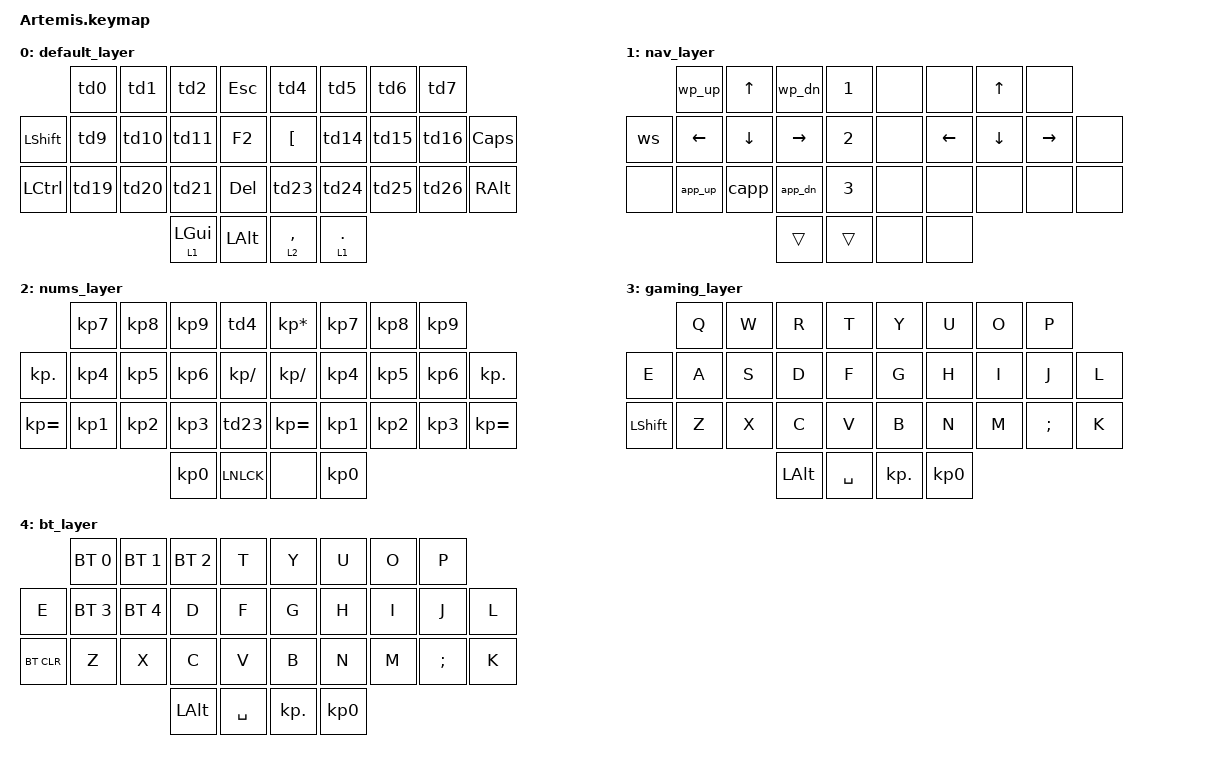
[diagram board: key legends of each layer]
#include <behaviors.dtsi>
#include <dt-bindings/zmk/keys.h>
#include <dt-bindings/zmk/bt.h>
&lt {
    tapping-term-ms = <200>;
};
&mt {
    retro-tap;
};

    
/ {
    behaviors {
        td0: tap_dance_0 {
            compatible = "zmk,behavior-tap-dance";
            #binding-cells = <0>;
            tapping-term-ms = <300>;
            bindings = <&kp E>, <&kp Q>, <&kp G>;
        };
        td1: tap_dance_1 {
            compatible = "zmk,behavior-tap-dance";
            #binding-cells = <0>;
            tapping-term-ms = <300>;
            bindings = <&kp R>, <&kp O>, <&kp M>;
        };
        td2: tap_dance_2 {
            compatible = "zmk,behavior-tap-dance";
            #binding-cells = <0>;
            tapping-term-ms = <300>;
            bindings = <&kp T>, <&kp H>, <&kp U>;
        };
        td3: tap_dance_3 {
            compatible = "zmk,behavior-tap-dance";
            #binding-cells = <0>;
            tapping-term-ms = <300>;
            bindings = <&kp ESC>, <&kp RBKT>;
        };
        td4: tap_dance_4 {
            compatible = "zmk,behavior-tap-dance";
            #binding-cells = <0>;
            tapping-term-ms = <300>;
            bindings = <&kp RBKT>, <&kp KP_SLASH>;
        };
        td5: tap_dance_5 {
            compatible = "zmk,behavior-tap-dance";
            #binding-cells = <0>;
            tapping-term-ms = <300>;
            bindings = <&kp G>, <&kp K>, <&kp EQUAL>;
        };
        td6: tap_dance_6 {
            compatible = "zmk,behavior-tap-dance";
            #binding-cells = <0>;
            tapping-term-ms = <300>;
            bindings = <&kp Y>, <&kp P>, <&kp EXCL>;
        };
        td7: tap_dance_7 {
            compatible = "zmk,behavior-tap-dance";
            #binding-cells = <0>;
            tapping-term-ms = <300>;
            bindings = <&kp L>, <&kp MINUS>, <&kp AT>;
        };
        td9: tap_dance_9 {
            compatible = "zmk,behavior-tap-dance";
            #binding-cells = <0>;
            tapping-term-ms = <300>;
            bindings = <&kp A>, <&kp L>, <&kp I>;
        };
        td10: tap_dance_10 {
            compatible = "zmk,behavior-tap-dance";
            #binding-cells = <0>;
            tapping-term-ms = <300>;
            bindings = <&kp S>, <&kp N>, <&kp K>;
        };
        td11: tap_dance_11 {
            compatible = "zmk,behavior-tap-dance";
            #binding-cells = <0>;
            tapping-term-ms = <300>;
            bindings = <&kp D>, <&kp F>, <&kp J>;
        };
        td12: tap_dance_12 {
            compatible = "zmk,behavior-tap-dance";
            #binding-cells = <0>;
            tapping-term-ms = <300>;
            bindings = <&kp F2>, <&kp APOS>;
        };
        td14: tap_dance_14 {
            compatible = "zmk,behavior-tap-dance";
            #binding-cells = <0>;
            tapping-term-ms = <300>;
            bindings = <&kp N>, <&kp SEMI>, <&kp LPAR>;
        };
        td15: tap_dance_15 {
            compatible = "zmk,behavior-tap-dance";
            #binding-cells = <0>;
            tapping-term-ms = <300>;
            bindings = <&kp I>, <&kp DQT>, <&kp NUBS>;
        };
        td16: tap_dance_16 {
            compatible = "zmk,behavior-tap-dance";
            #binding-cells = <0>;
            tapping-term-ms = <300>;
            bindings = <&kp O>, <&kp AMPS>, <&kp LBRC>;
        };
        td17: tap_dance_17 {
            compatible = "zmk,behavior-tap-dance";
            #binding-cells = <0>;
            tapping-term-ms = <300>;
            bindings = <&kp NUHS>, <&kp F4>;
        };
        td19: tap_dance_19 {
            compatible = "zmk,behavior-tap-dance";
            #binding-cells = <0>;
            tapping-term-ms = <300>;
            bindings = <&kp Z>, <&kp W>, <&kp P>;
        };
        td20: tap_dance_20 {
            compatible = "zmk,behavior-tap-dance";
            #binding-cells = <0>;
            tapping-term-ms = <300>;
            bindings = <&kp X>, <&kp B>, <&kp SEMI>;
        };
        td21: tap_dance_21 {
            compatible = "zmk,behavior-tap-dance";
            #binding-cells = <0>;
            tapping-term-ms = <300>;
            bindings = <&kp C>, <&kp V>, <&kp Y>;
        };
        td22: tap_dance_22 {
            compatible = "zmk,behavior-tap-dance";
            #binding-cells = <0>;
            tapping-term-ms = <300>;
            bindings = <&kp DEL>, <&kp FSLH>;
        };
        td23: tap_dance_23 {
            compatible = "zmk,behavior-tap-dance";
            #binding-cells = <0>;
            tapping-term-ms = <300>;
            bindings = <&kp FSLH>, <&kp CARET>;
        };
        td24: tap_dance_24 {
            compatible = "zmk,behavior-tap-dance";
            #binding-cells = <0>;
            tapping-term-ms = <300>;
            bindings = <&kp M>, <&kp STAR>, <&kp TILDE>;
        };
        td25: tap_dance_25 {
            compatible = "zmk,behavior-tap-dance";
            #binding-cells = <0>;
            tapping-term-ms = <300>;
            bindings = <&kp U>, <&kp PRCNT>, <&kp TILDE2>;
        };
        td26: tap_dance_26 {
            compatible = "zmk,behavior-tap-dance";
            #binding-cells = <0>;
            tapping-term-ms = <300>;
            bindings = <&kp H>, <&kp J>, <&kp LT>;
        };
    };
        macros {
        app_dn: app_lworkspace {
            compatible = "zmk,behavior-macro";
            #binding-cells = <0>;
            bindings
                = <&macro_press &kp LSHIFT &kp LGUI>
                , <&macro_tap &kp PG_DN>
                , <&macro_release &kp LSHIFT &kp LGUI>
                ;
                };
        app_up: app_rworkspace {
            compatible = "zmk,behavior-macro";
            #binding-cells = <0>;
            bindings
                = <&macro_press &kp LSHIFT &kp LGUI>
                , <&macro_tap &kp PG_UP>
                , <&macro_release &kp LSHIFT &kp LGUI>
                ;
                };
        wp_up: lworkspace {
            compatible = "zmk,behavior-macro";
            #binding-cells = <0>;
            bindings
                = <&macro_press &kp LGUI>
                , <&macro_tap &kp PG_UP>
                , <&macro_release &kp LGUI>
                ;
                };
        wp_dn: rworkspace {
            compatible = "zmk,behavior-macro";
            #binding-cells = <0>;
            bindings
                = <&macro_press &kp LGUI>
                , <&macro_tap &kp PG_DN>
                , <&macro_release &kp LGUI>
                ;
                };                        
        ws: win_shift {
            compatible = "zmk,behavior-macro";
            #binding-cells = <0>;
            bindings
                = <&macro_press &kp LGUI &kp LSHIFT>
                , <&macro_release &kp LGUI &kp LSHIFT>
                ;
                }; 
        capp: clos_app {
            compatible = "zmk,behavior-macro";
            #binding-cells = <0>;
            bindings
                = <&macro_press &kp LALT &kp F4>
                , <&macro_release &kp LALT &kp F4>
                ;
                }; 
        };
        
        keymap {
                compatible = "zmk,keymap";

                default_layer {
// 0-----------------------------------------------------------------------------------------
//       |  Q  |  W  |  R  |  T  |   |  T  |  Y   |  U  |  I  |
// |  A  |  S  |  D  |  F  |  G  |   |  H  |  J   |  K  |  L  |  ;  |
// |  Z  |  X  |  C  |  V  |  B  |   |  N  |  M   |  ,  |  .  |  /  |
//                   | GUI | LWR |   | ENT | RSE  |
                        bindings = <
                   &td0  &td1  &td2         &kp ESC       &td4        &td5       &td6   &td7
        &kp LSHIFT &td9  &td10 &td11        &kp F2        &kp LBKT    &td14      &td15  &td16    &kp CAPS
        &kp LCTRL  &td19 &td20 &td21        &kp DEL       &td23       &td24      &td25  &td26    &kp RALT
                               &lt 1 LGUI   &kp LALT    &lt 2 COMMA &lt 1 DOT
                        >; 
                };

                nav_layer {
// 1-----------------------------------------------------------------------------------------
// |  TAB |  1  |  2  |  3  |  4  |  5  |   |  6  |  7  |  8  |  9  |  0  | BSPC |
// | BTCLR| BT1 | BT2 | BT3 | BT4 | BT5 |   | LFT | DWN |  UP | RGT |     |      |
// | SHFT |     |     |     |     |     |   |     |     |     |     |     |      |
//                    | GUI |     | SPC |   | ENT |     | ALT |
                        bindings = <
              &wp_up     &kp UP     &wp_dn     &kp N1          &none    &none     &kp UP    &none  
   &ws        &kp LEFT   &kp DOWN   &kp RIGHT  &kp N2          &none    &kp LEFT  &kp DOWN  &kp RIGHT &none
   &none      &app_up    &capp      &app_dn    &kp N3          &none    &none     &none     &none     &none
                                    &trans     &trans          &none    &none
                        >;
                };
                nums_layer {
// 2---------------------------------------------------------------------------------------
// |  TAB |  1  |  2  |  3  |  4  |  5  |   |  6  |  7  |  8  |  9  |  0  | BSPC |
// | BTCLR| BT1 | BT2 | BT3 | BT4 | BT5 |   | LFT | DWN |  UP | RGT |     |      |
// | SHFT |     |     |     |     |     |   |     |     |     |     |     |      |
//                    | GUI |     | SPC |   | ENT |     | ALT |
                        bindings = <
                  &kp KP_N7   &kp KP_N8    &kp KP_N9    &td4              &kp KP_MULTIPLY &kp KP_N7   &kp KP_N8    &kp KP_N9   
   &kp KP_DOT     &kp KP_N4   &kp KP_N5    &kp KP_N6    &kp KP_SLASH      &kp KP_SLASH    &kp KP_N4   &kp KP_N5    &kp KP_N6   &kp KP_DOT
   &kp KP_EQUAL   &kp KP_N1   &kp KP_N2    &kp KP_N3    &td23             &kp KP_EQUAL    &kp KP_N1   &kp KP_N2    &kp KP_N3   &kp KP_EQUAL 
                                        &kp KP_N0    &kp LNLCK         &none           &kp KP_N0
                        >;
                };
                gaming_layer {
// 7---------------------------------------------------------------------------------------
// |  TAB |  1  |  2  |  3  |  4  |  5  |   |  6  |  7  |  8  |  9  |  0  | BSPC |
// | BTCLR| BT1 | BT2 | BT3 | BT4 | BT5 |   | LFT | DWN |  UP | RGT |     |      |
// | SHFT |     |     |     |     |     |   |     |     |     |     |     |      |
//                    | GUI |     | SPC |   | ENT |     | ALT |
                        bindings = <
                   &kp Q &kp W &kp R      &kp T       &kp Y       &kp U    &kp O &kp P
        &kp E      &kp A &kp S &kp D      &kp F       &kp G       &kp H    &kp I &kp J    &kp L
        &kp LSHIFT &kp Z &kp X &kp C      &kp V       &kp B       &kp N    &kp M &kp SEMI &kp K
                               &kp LALT   &kp SPACE   &kp KP_DOT  &kp KP_N0
                        >;
                };
                bt_layer {
// 8---------------------------------------------------------------------------------------
// |  TAB |  1  |  2  |  3  |  4  |  5  |   |  6  |  7  |  8  |  9  |  0  | BSPC |
// | BTCLR| BT1 | BT2 | BT3 | BT4 | BT5 |   | LFT | DWN |  UP | RGT |     |      |
// | SHFT |     |     |     |     |     |   |     |     |     |     |     |      |
//                    | GUI |     | SPC |   | ENT |     | ALT |
                        bindings = <
                   &bt BT_SEL 0 &bt BT_SEL 1 &bt BT_SEL 2    &kp T       &kp Y       &kp U    &kp O &kp P
        &kp E      &bt BT_SEL 3 &bt BT_SEL 4 &kp D           &kp F       &kp G       &kp H    &kp I &kp J    &kp L
        &bt BT_CLR &kp Z        &kp X        &kp C           &kp V       &kp B       &kp N    &kp M &kp SEMI &kp K
                                &kp LALT     &kp SPACE       &kp KP_DOT  &kp KP_N0
                        >;
                };
 
        combos {
        compatible = "zmk,combos";
        combo_tab {
            timeout-ms = <50>;
            key-positions = <0 1>;
            bindings = <&kp TAB>;
        };
        combo_enter {
            timeout-ms = <50>;
            key-positions = <14 15 16>;
            bindings = <&kp RET>;
        };
        combo_lenter {
            timeout-ms = <50>;
            key-positions = <9 10 11>;
            bindings = <&kp RET>;
        };
        combo_bcspace {
            timeout-ms = <50>;
            key-positions = <15 16>;
            bindings = <&kp BSPC>;
        };
        combo_lbcspace {
            timeout-ms = <50>;
            key-positions = <10 11>;
            bindings = <&kp BSPC>;
        };
        combo_space {
            timeout-ms = <50>;
            key-positions = <14 15>;
            bindings = <&kp SPACE>;
        };
        combo_lspace {
            timeout-ms = <50>;
            key-positions = <9 10>;
            bindings = <&kp SPACE>;
        };
        combo_volup {
            timeout-ms = <50>;
            key-positions = <6 7>;
            bindings = <&kp K_VOL_UP>;
        };
        combo_voldown {
            timeout-ms = <50>;
            key-positions = <5 6>;
            bindings = <&kp K_VOL_DN>;
        };
        combo_play_pause {
            timeout-ms = <50>;
            key-positions = <5 6 7>;
            bindings = <&kp K_PP>;
        };
        combo_next {
            timeout-ms = <50>;
            key-positions = <5 7>;
            bindings = <&kp K_NEXT>;
        };
        combo_prev {
            timeout-ms = <50>;
            key-positions = <4 7>;
            bindings = <&kp K_PREV>;
        };
        combo_bright_up {
            timeout-ms = <50>;
            key-positions = <2 3>;
            bindings = <&kp C_BRI_UP>;
        };
        combo_bright_down {
            timeout-ms = <50>;
            key-positions = <1 3>;
            bindings = <&kp C_BRI_DN>;
        };
        combo_layer2 {
            timeout-ms = <50>;
            key-positions = <19 21>;
            bindings = <&tog 2>;
            layers = <0 2>;
        };
        combo_ss {
            timeout-ms = <50>;
            key-positions = <13 17>;
            bindings = <&kp PSCRN>;
        };
        combo_gmng {
            timeout-ms = <50>;
            key-positions = <28 31>;
            bindings = <&tog 3>;
            layers = <0 3>;
        };
        combo_btlayer {
            timeout-ms = <50>;
            key-positions = <29 30>;
            bindings = <&tog 4>;
            layers = <0 4>;
        };
    };
};
};

//        | SW0  | SW1  | SW2  | SW3  |   | SW4  | SW5  | SW6  | SW7  |
// | SW8  | SW9  | SW10 | SW11 | SW12 |   | SW13 | SW14 | SW15 | SW16 | SW17 |
// | SW18 | SW19 | SW20 | SW21 | SW22 |   | SW23 | SW24 | SW25 | SW26 | SW27 |
//                      | SW28 | SW29 |   | SW30 | SW31 |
